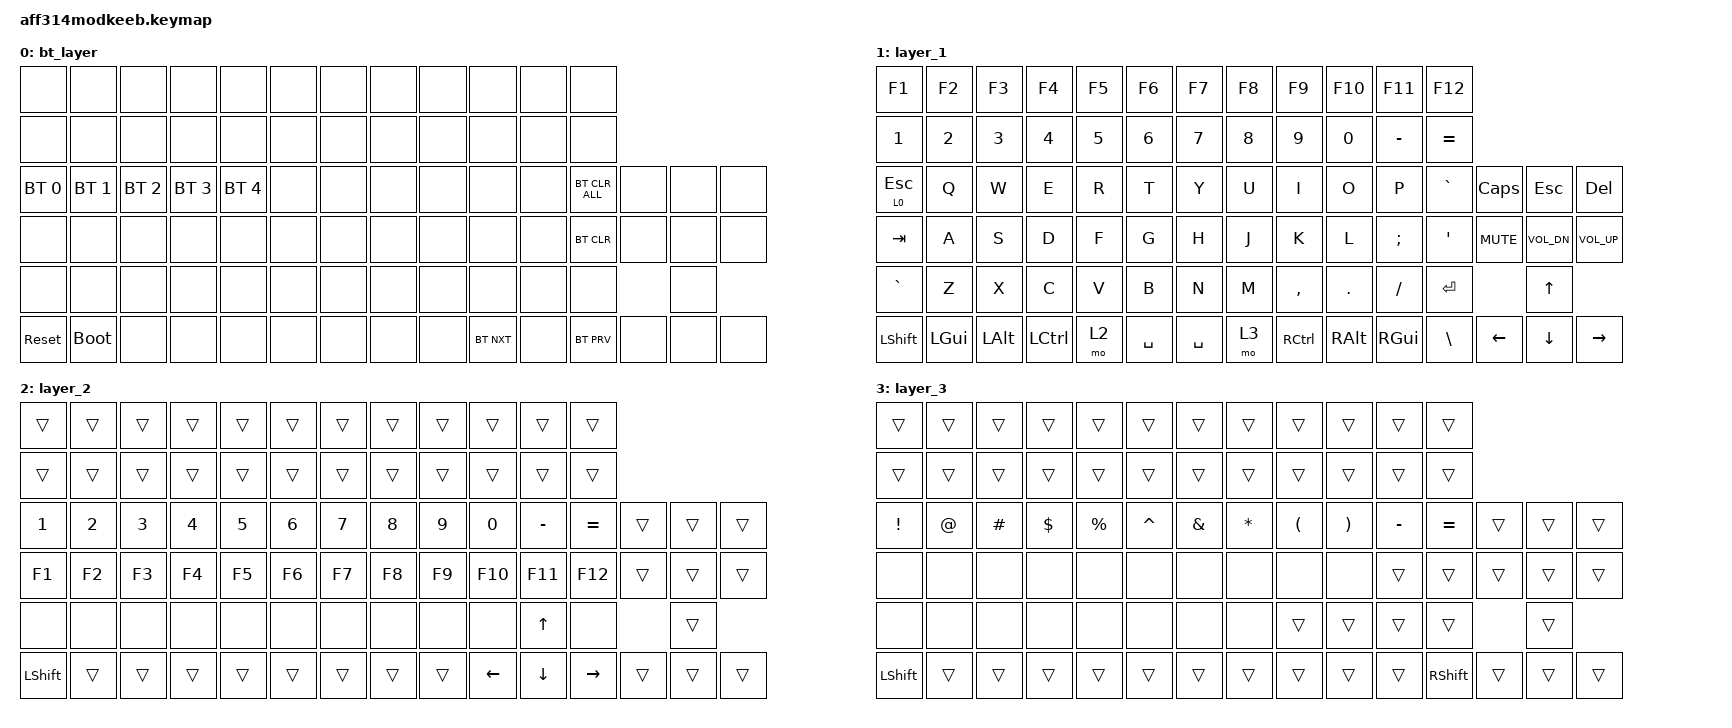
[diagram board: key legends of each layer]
#include <behaviors.dtsi>
#include <dt-bindings/zmk/keys.h>
#include <dt-bindings/zmk/bt.h>

#define bt_layer  0
#define layer_1   1
#define layer_2   2
#define layer_3   3

/ {
    keymap {
        compatible = "zmk,keymap";
        label = "Default keymap";

        bt_layer {
            bindings = <
                &none        &none        &none        &none        &none        &none        &none        &none        &none        &none        &none        &none
                &none        &none        &none        &none        &none        &none        &none        &none        &none        &none        &none        &none
                &bt BT_SEL 0 &bt BT_SEL 1 &bt BT_SEL 2 &bt BT_SEL 3 &bt BT_SEL 4 &none        &none        &none        &none        &none        &none        &bt BT_CLR_ALL    &none        &none        &none
                &none        &none        &none        &none        &none        &none        &none        &none        &none        &none        &none        &bt BT_CLR        &none        &none        &none
                &none        &none        &none        &none        &none        &none        &none        &none        &none        &none        &none        &none                          &none
                &sys_reset   &bootloader  &none        &none        &none        &none        &none        &none        &none        &bt BT_NXT   &none        &bt BT_PRV        &none        &none        &none
            >;
        };

        layer_1 {
            bindings = <
                &kp F1       &kp F2       &kp F3       &kp F4       &kp F5       &kp F6       &kp F7       &kp F8       &kp F9       &kp F10      &kp F11      &kp F12
                &kp N1       &kp N2       &kp N3       &kp N4       &kp N5       &kp N6       &kp N7       &kp N8       &kp N9       &kp N0       &kp MINUS    &kp EQUAL
                &lt 0 ESC    &kp Q        &kp W        &kp E        &kp R        &kp T        &kp Y        &kp U        &kp I        &kp O        &kp P        &kp GRAVE         &kp CAPSLOCK &kp ESC      &kp DEL
                &kp TAB      &kp A        &kp S        &kp D        &kp F        &kp G        &kp H        &kp J        &kp K        &kp L        &kp SEMI     &kp APOS          &kp C_MUTE   &kp C_VOL_DN &kp C_VOL_UP
                &kp GRAVE    &kp Z        &kp X        &kp C        &kp V        &kp B        &kp N        &kp M        &kp COMMA    &kp DOT      &kp SLASH    &kp ENTER                      &kp UP
                &kp LSHIFT   &kp LGUI     &kp LALT     &kp LCTRL    &mo 2        &kp SPACE    &kp SPACE    &mo 3        &kp RCTRL    &kp RALT     &kp RGUI     &kp BSLH          &kp LEFT     &kp DOWN     &kp RIGHT
            >;

        };

        layer_2 {
            bindings = <
                &trans       &trans       &trans       &trans       &trans       &trans       &trans       &trans       &trans       &trans       &trans       &trans
                &trans       &trans       &trans       &trans       &trans       &trans       &trans       &trans       &trans       &trans       &trans       &trans
                &kp N1       &kp N2       &kp N3       &kp N4       &kp N5       &kp N6       &kp N7       &kp N8       &kp N9       &kp N0       &kp MINUS    &kp EQUAL         &trans       &trans       &trans
                &kp F1       &kp F2       &kp F3       &kp F4       &kp F5       &kp F6       &kp F7       &kp F8       &kp F9       &kp F10      &kp F11      &kp F12           &trans       &trans       &trans
                &none        &none        &none        &none        &none        &none        &none        &none        &none        &none        &kp UP       &none                          &trans
                &kp LSHIFT   &trans       &trans       &trans       &trans       &trans       &trans       &trans       &trans       &kp LEFT     &kp DOWN     &kp RIGHT         &trans       &trans       &trans
            >;
        };

        layer_3 {
            bindings = <
                &trans       &trans       &trans       &trans       &trans       &trans       &trans       &trans       &trans       &trans       &trans       &trans
                &trans       &trans       &trans       &trans       &trans       &trans       &trans       &trans       &trans       &trans       &trans       &trans
                &kp EXCL     &kp AT       &kp HASH     &kp DOLLAR   &kp PERCENT  &kp CARET    &kp AMPS     &kp ASTRK    &kp LPAR     &kp RPAR     &kp MINUS    &kp EQUAL         &trans       &trans       &trans
                &none        &none        &none        &none        &none        &none        &none        &none        &none        &none        &trans       &trans            &trans       &trans       &trans
                &none        &none        &none        &none        &none        &none        &none        &none        &trans       &trans       &trans       &trans                         &trans
                &kp LSHIFT   &trans       &trans       &trans       &trans       &trans       &trans       &trans       &trans       &trans       &trans       &kp RSHIFT        &trans       &trans       &trans
            >;
        };
    };
};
